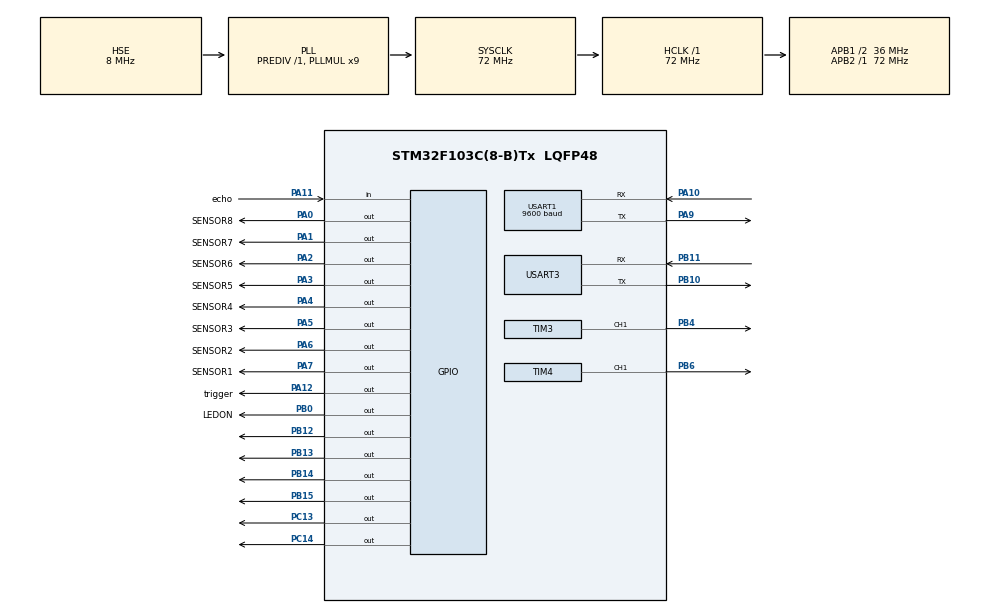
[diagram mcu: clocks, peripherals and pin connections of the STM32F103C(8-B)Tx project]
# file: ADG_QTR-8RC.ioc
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Mcu.Family=STM32F1
Mcu.Name=STM32F103C(8-B)Tx
Mcu.Package=LQFP48
NVIC.PriorityGroup=NVIC_PRIORITYGROUP_4
PA0-WKUP.GPIO_Label=SENSOR8
PA0-WKUP.GPIO_Speed=GPIO_SPEED_FREQ_HIGH
PA0-WKUP.Signal=GPIO_Output
PA1.GPIO_Label=SENSOR7
PA1.GPIO_Speed=GPIO_SPEED_FREQ_HIGH
PA1.Signal=GPIO_Output
PA10.Mode=Asynchronous
PA10.Signal=USART1_RX
PA11.GPIO_Label=echo
PA11.Signal=GPIO_Input
PA12.GPIO_Label=trigger
PA12.Signal=GPIO_Output
PA13.Mode=Serial_Wire
PA13.Signal=SYS_JTMS-SWDIO
PA14.Mode=Serial_Wire
PA14.Signal=SYS_JTCK-SWCLK
PA2.GPIO_Label=SENSOR6
PA2.GPIO_Speed=GPIO_SPEED_FREQ_HIGH
PA2.Signal=GPIO_Output
PA3.GPIO_Label=SENSOR5
PA3.GPIO_Speed=GPIO_SPEED_FREQ_HIGH
PA3.Signal=GPIO_Output
PA4.GPIO_Label=SENSOR4
PA4.GPIO_Speed=GPIO_SPEED_FREQ_HIGH
PA4.Signal=GPIO_Output
PA5.GPIO_Label=SENSOR3
PA5.GPIO_Speed=GPIO_SPEED_FREQ_HIGH
PA5.Signal=GPIO_Output
PA6.GPIO_Label=SENSOR2
PA6.GPIO_Speed=GPIO_SPEED_FREQ_HIGH
PA6.Signal=GPIO_Output
PA7.GPIO_Label=SENSOR1
PA7.GPIO_Speed=GPIO_SPEED_FREQ_HIGH
PA7.Signal=GPIO_Output
PA9.Mode=Asynchronous
PA9.Signal=USART1_TX
PB0.GPIO_Label=LEDON
PB0.GPIO_Speed=GPIO_SPEED_FREQ_HIGH
PB0.Signal=GPIO_Output
PB10.Mode=Asynchronous
PB10.Signal=USART3_TX
PB11.Mode=Asynchronous
PB11.Signal=USART3_RX
PB12.Signal=GPIO_Output
PB13.Signal=GPIO_Output
PB14.Signal=GPIO_Output
PB15.Signal=GPIO_Output
PB4.Signal=S_TIM3_CH1
PB6.Signal=S_TIM4_CH1
PC13-TAMPER-RTC.Signal=GPIO_Output
PC14-OSC32_IN.Signal=GPIO_Output
PD0-OSC_IN.Mode=HSE-External-Oscillator
PD0-OSC_IN.Signal=RCC_OSC_IN
PD1-OSC_OUT.Mode=HSE-External-Oscillator
PD1-OSC_OUT.Signal=RCC_OSC_OUT
ProjectManager.HeapSize=0x200
ProjectManager.StackSize=0x400
ProjectManager.TargetToolchain=MDK-ARM V5.32
RCC.AHBFreq_Value=72000000
RCC.APB1CLKDivider=RCC_HCLK_DIV2
RCC.APB1Freq_Value=36000000
RCC.APB1TimFreq_Value=72000000
RCC.APB2Freq_Value=72000000
RCC.APB2TimFreq_Value=72000000
RCC.HCLKFreq_Value=72000000
RCC.PLLMUL=RCC_PLL_MUL9
RCC.PLLSourceVirtual=RCC_PLLSOURCE_HSE
RCC.SYSCLKFreq_VALUE=72000000
RCC.SYSCLKSource=RCC_SYSCLKSOURCE_PLLCLK
RCC.USBFreq_Value=72000000
SH.S_TIM3_CH1.0=TIM3_CH1,PWM Generation1 CH1
SH.S_TIM4_CH1.0=TIM4_CH1,PWM Generation1 CH1
TIM1.Period=0xffff-1
TIM1.Prescaler=72-1
TIM3.Channel-PWM\ Generation1\ CH1=TIM_CHANNEL_1
TIM3.Period=999
TIM3.Prescaler=79
TIM3.Pulse-PWM\ Generation1\ CH1=500
TIM4.Channel-PWM\ Generation1\ CH1=TIM_CHANNEL_1
TIM4.Period=999
TIM4.Prescaler=79
USART1.BaudRate=9600
USART1.VirtualMode=VM_ASYNC
USART3.VirtualMode=VM_ASYNC
VP_TIM1_VS_ClockSourceINT.Mode=Internal
VP_TIM3_VS_ClockSourceINT.Mode=Internal
VP_TIM4_VS_ClockSourceINT.Mode=Internal
board=custom

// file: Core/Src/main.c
/* USER CODE BEGIN Header */
/**
  ******************************************************************************
  * @file           : main.c
  * @brief          : Main program body
  ******************************************************************************
  * @attention
  *
  * <h2><center>&copy; Copyright (c) 2021 STMicroelectronics.
  * All rights reserved.</center></h2>
  *
  * This software component is licensed by ST under BSD 3-Clause license,
  * the "License"; You may not use this file except in compliance with the
  * License. You may obtain a copy of the License at:
  *                        opensource.org/licenses/BSD-3-Clause
  *
  ******************************************************************************
  */
/* USER CODE END Header */
#include "main.h"

/* USER CODE BEGIN PD */
#include "string.h"

/* USER CODE END PD */

TIM_HandleTypeDef htim1;
TIM_HandleTypeDef htim3;
TIM_HandleTypeDef htim4;

UART_HandleTypeDef huart1;
UART_HandleTypeDef huart3;

/* USER CODE BEGIN PV */
	char data_hcr[32] = "";
	char data_qtr[32] = "";
	char data_error[32] = "";

	int sensor_read = 0x00000000;
	int white = 1;
	int error = 0;
	int keskin = 0;

	float	P , I, D, pre_error=0,PID_val=0,pre_I;
	float Kp=31, Ki=0, Kd=950;//PID degerleri

	uint32_t time;
  uint16_t distance;
/* USER CODE END PV */

void SystemClock_Config(void);
static void MX_GPIO_Init(void);
static void MX_TIM1_Init(void);
static void MX_TIM3_Init(void);
static void MX_TIM4_Init(void);
static void MX_USART1_UART_Init(void);
static void MX_USART3_UART_Init(void);

/* USER CODE BEGIN 0 */

void delay_us (uint16_t us)
{
	__HAL_TIM_SET_COUNTER(&htim1,0);  // set the counter value a 0
	while (__HAL_TIM_GET_COUNTER(&htim1) < us);  // wait for the counter to reach the us input in the parameter
}

void Set_Pin_Output (GPIO_TypeDef *GPIOx, uint16_t GPIO_Pin)
{
	GPIO_InitTypeDef GPIO_InitStruct = {0};
	GPIO_InitStruct.Pin = GPIO_Pin;
	GPIO_InitStruct.Mode = GPIO_MODE_OUTPUT_PP;
  GPIO_InitStruct.Pull = GPIO_NOPULL;
	GPIO_InitStruct.Speed = GPIO_SPEED_FREQ_LOW;
	HAL_GPIO_Init(GPIOx, &GPIO_InitStruct);
}

void Set_Pin_Input (GPIO_TypeDef *GPIOx, uint16_t GPIO_Pin)
{
	GPIO_InitTypeDef GPIO_InitStruct = {0};
	GPIO_InitStruct.Pin = GPIO_Pin;
	GPIO_InitStruct.Mode = GPIO_MODE_INPUT;
	GPIO_InitStruct.Pull = GPIO_PULLUP;
	GPIO_InitStruct.Speed = GPIO_SPEED_FREQ_LOW;
	HAL_GPIO_Init(GPIOx, &GPIO_InitStruct);

}

void user_pwm_setvalue3(uint16_t value)
{

 HAL_TIM_PWM_Stop(&htim3,TIM_CHANNEL_1);
 TIM_OC_InitTypeDef sConfigOC;

 sConfigOC.OCMode = TIM_OCMODE_PWM1;
 sConfigOC.Pulse = value;
 sConfigOC.OCPolarity = TIM_OCPOLARITY_HIGH;
 sConfigOC.OCFastMode = TIM_OCFAST_DISABLE;

 HAL_TIM_PWM_ConfigChannel(&htim3, &sConfigOC, TIM_CHANNEL_1);
 HAL_TIM_PWM_Start(&htim3, TIM_CHANNEL_1);
}

void user_pwm_setvalue4(uint16_t value)
{

HAL_TIM_PWM_Stop(&htim4,TIM_CHANNEL_1);
 TIM_OC_InitTypeDef sConfigOC;

 sConfigOC.OCMode = TIM_OCMODE_PWM1;
 sConfigOC.Pulse = value;
 sConfigOC.OCPolarity = TIM_OCPOLARITY_HIGH;
 sConfigOC.OCFastMode = TIM_OCFAST_DISABLE;

 HAL_TIM_PWM_ConfigChannel(&htim4, &sConfigOC, TIM_CHANNEL_1);
 HAL_TIM_PWM_Start(&htim4, TIM_CHANNEL_1);
}

int QTR8_read (void)
{
	HAL_GPIO_WritePin(LEDON_GPIO_Port, LEDON_Pin, 1);

	Set_Pin_Output(SENSOR1_GPIO_Port, SENSOR1_Pin);
	Set_Pin_Output(SENSOR2_GPIO_Port, SENSOR2_Pin);
	Set_Pin_Output(SENSOR3_GPIO_Port, SENSOR3_Pin);
	Set_Pin_Output(SENSOR4_GPIO_Port, SENSOR4_Pin);
	Set_Pin_Output(SENSOR5_GPIO_Port, SENSOR5_Pin);
	Set_Pin_Output(SENSOR6_GPIO_Port, SENSOR6_Pin);
	Set_Pin_Output(SENSOR7_GPIO_Port, SENSOR7_Pin);
	Set_Pin_Output(SENSOR8_GPIO_Port, SENSOR8_Pin);

	HAL_GPIO_WritePin (SENSOR1_GPIO_Port, SENSOR1_Pin, 1);
	HAL_GPIO_WritePin (SENSOR2_GPIO_Port, SENSOR2_Pin, 1);
	HAL_GPIO_WritePin (SENSOR3_GPIO_Port, SENSOR3_Pin, 1);
	HAL_GPIO_WritePin (SENSOR4_GPIO_Port, SENSOR4_Pin, 1);
	HAL_GPIO_WritePin (SENSOR5_GPIO_Port, SENSOR5_Pin, 1);
	HAL_GPIO_WritePin (SENSOR6_GPIO_Port, SENSOR6_Pin, 1);
	HAL_GPIO_WritePin (SENSOR7_GPIO_Port, SENSOR7_Pin, 1);
	HAL_GPIO_WritePin (SENSOR8_GPIO_Port, SENSOR8_Pin, 1);

	delay_us(12);

	Set_Pin_Input(SENSOR1_GPIO_Port, SENSOR1_Pin);
	Set_Pin_Input(SENSOR2_GPIO_Port, SENSOR2_Pin);
	Set_Pin_Input(SENSOR3_GPIO_Port, SENSOR3_Pin);
	Set_Pin_Input(SENSOR4_GPIO_Port, SENSOR4_Pin);
	Set_Pin_Input(SENSOR5_GPIO_Port, SENSOR5_Pin);
	Set_Pin_Input(SENSOR6_GPIO_Port, SENSOR6_Pin);
	Set_Pin_Input(SENSOR7_GPIO_Port, SENSOR7_Pin);
	Set_Pin_Input(SENSOR8_GPIO_Port, SENSOR8_Pin);

	// Threshold
	delay_us(6000);

	sensor_read = 0x00000000;

	if (HAL_GPIO_ReadPin(SENSOR1_GPIO_Port, SENSOR1_Pin)) {
		sensor_read |= 0x00000001;

	}
	if (HAL_GPIO_ReadPin(SENSOR2_GPIO_Port, SENSOR2_Pin)) {
		sensor_read |= 0x00000010;

  }
	if (HAL_GPIO_ReadPin(SENSOR3_GPIO_Port, SENSOR3_Pin)) {
		sensor_read |= 0x00000100;

  }
	if (HAL_GPIO_ReadPin(SENSOR4_GPIO_Port, SENSOR4_Pin)) {
		sensor_read |= 0x00001000;

  }
	if (HAL_GPIO_ReadPin(SENSOR5_GPIO_Port, SENSOR5_Pin)) {
		sensor_read |= 0x00010000;

  }
	if (HAL_GPIO_ReadPin(SENSOR6_GPIO_Port, SENSOR6_Pin)) {
		sensor_read |= 0x00100000;

  }
	if (HAL_GPIO_ReadPin(SENSOR7_GPIO_Port, SENSOR7_Pin)) {
		sensor_read |= 0x01000000;

  }
	if (HAL_GPIO_ReadPin(SENSOR8_GPIO_Port, SENSOR8_Pin)) {
		sensor_read |= 0x10000000;

  }

if(sensor_read == 0x00000000) {
error = 0;
keskin = 0;}
else if (sensor_read == 0x00011000) {
error = 0;
} else if (sensor_read == 0x00001000 || sensor_read == 0x00001100) {
error = 1;
} else if (sensor_read == 0x00000100 || sensor_read == 0x00000110 || sensor_read == 0x00001110) {
error = 2;
} else if (sensor_read == 0x00000010 || sensor_read == 0x00000011 || sensor_read == 0x00000111) {
error = 3;
} else if (sensor_read == 0x00000001) {
error = 4;
} else if (sensor_read == 0x00010000 || sensor_read == 0x00110000) {
error = -1;
} else if (sensor_read == 0x00100000 || sensor_read == 0x01100000|| sensor_read == 0x01110000) {
error = -2;
} else if (sensor_read == 0x01000000 || sensor_read == 0x11000000 || sensor_read == 0x11100000) {
error = -3;
} else if (sensor_read == 0x10000000) {
error = -4;
}else if (sensor_read == 0x00011011 || sensor_read == 0x00011111 || sensor_read == 0x00001011 || sensor_read == 0x00001111 || sensor_read == 0x00010011
|| sensor_read == 0x00010111) {
error = 5;
keskin = 1;
} else if (sensor_read == 0x11011000 || sensor_read == 0x11111000 || sensor_read == 0x11001000 || sensor_read == 0x11101000 || sensor_read == 0x11010000
|| sensor_read == 0x11110000) {
error = -5;
keskin = -1;

}

		P = error;
    I = I + error;
    D = error-pre_error;
    PID_val = (Kp*P) + (Ki*I) + (Kd*D);
    pre_I=I;
    pre_error=error;

	  float pwm_adg=220;//Hiz ayari

	  if(error > 0){
						user_pwm_setvalue3(pwm_adg +1*(Kp*P));
			user_pwm_setvalue4(pwm_adg -1*(Kp*P)/2);
		HAL_GPIO_WritePin(GPIOC,GPIO_PIN_13,1);
		HAL_GPIO_WritePin(GPIOC,GPIO_PIN_14,0);
		}
		else if(error < 0){
						user_pwm_setvalue3(pwm_adg -1*(Kp*P));
			user_pwm_setvalue4(pwm_adg +1*(Kp*P)/2);
		HAL_GPIO_WritePin(GPIOC,GPIO_PIN_14,1);
		HAL_GPIO_WritePin(GPIOC,GPIO_PIN_13,0);
		}
		else{
		HAL_GPIO_WritePin(GPIOC,GPIO_PIN_13,0);
		HAL_GPIO_WritePin(GPIOC,GPIO_PIN_14,0);

		}

if (keskin == -1){
		if (PID_val < 0) {
			user_pwm_setvalue3(pwm_adg +5*(Kp*P));
			user_pwm_setvalue4(pwm_adg -5*(Kp*P));

		  HAL_GPIO_WritePin(GPIOB,GPIO_PIN_12,0);  ///FORWARD 0 1 AND 1 0 BACK
		  HAL_GPIO_WritePin(GPIOB,GPIO_PIN_13,1);

  	  HAL_GPIO_WritePin(GPIOB,GPIO_PIN_14,1);  ///FORWARD 0 1 AND 1 0 BACK
		  HAL_GPIO_WritePin(GPIOB,GPIO_PIN_15,0);
			keskin = 0;
			HAL_Delay(100);

		} else {
			user_pwm_setvalue3(pwm_adg+10*(Kp*P));
			user_pwm_setvalue4(pwm_adg -(Kp*P)*10);

		  HAL_GPIO_WritePin(GPIOB,GPIO_PIN_12,1);  ///FORWARD 0 1 AND 1 0 BACK
		  HAL_GPIO_WritePin(GPIOB,GPIO_PIN_13,0);

  	  HAL_GPIO_WritePin(GPIOB,GPIO_PIN_14,0);  ///FORWARD 0 1 AND 1 0 BACK
		  HAL_GPIO_WritePin(GPIOB,GPIO_PIN_15,1);
			keskin = 0;
			HAL_Delay(100);

		}
	}

else if (keskin == 1){
		if (PID_val < 0) {
			user_pwm_setvalue3(pwm_adg -(Kp*P)*10);
			user_pwm_setvalue4(pwm_adg+10*(Kp*P));

		  HAL_GPIO_WritePin(GPIOB,GPIO_PIN_12,1);  ///FORWARD 0 1 AND 1 0 BACK
		  HAL_GPIO_WritePin(GPIOB,GPIO_PIN_13,0);

  	  HAL_GPIO_WritePin(GPIOB,GPIO_PIN_14,0);  ///FORWARD 0 1 AND 1 0 BACK
		  HAL_GPIO_WritePin(GPIOB,GPIO_PIN_15,1);
			keskin = 0;
			HAL_Delay(100);

		} else {
			user_pwm_setvalue3(pwm_adg+10*(Kp*P));
			user_pwm_setvalue4(pwm_adg -10*(Kp*P));

		  HAL_GPIO_WritePin(GPIOB,GPIO_PIN_12,0);  ///FORWARD 0 1 AND 1 0 BACK
		  HAL_GPIO_WritePin(GPIOB,GPIO_PIN_13,1);

  	  HAL_GPIO_WritePin(GPIOB,GPIO_PIN_14,1);  ///FORWARD 0 1 AND 1 0 BACK
		  HAL_GPIO_WritePin(GPIOB,GPIO_PIN_15,0);
			keskin = 0;
			HAL_Delay(100);

		}
	}

	else if (sensor_read == 0x10100000 ){
					user_pwm_setvalue3(pwm_adg+1*(Kp*P));
					user_pwm_setvalue4(pwm_adg +1*(Kp*P));
		  HAL_GPIO_WritePin(GPIOB,GPIO_PIN_12,0);  ///FORWARD 0 1 AND 1 0 BACK
		  HAL_GPIO_WritePin(GPIOB,GPIO_PIN_13,1);

  	  HAL_GPIO_WritePin(GPIOB,GPIO_PIN_14,1);  ///FORWARD 0 1 AND 1 0 BACK
		  HAL_GPIO_WritePin(GPIOB,GPIO_PIN_15,0);
			HAL_Delay(25);
}

	else if (sensor_read == 0x00000101 ){
							user_pwm_setvalue3(pwm_adg+1*(Kp*P));
					user_pwm_setvalue4(pwm_adg +1*(Kp*P));
		  HAL_GPIO_WritePin(GPIOB,GPIO_PIN_12,1);  ///FORWARD 0 1 AND 1 0 BACK
		  HAL_GPIO_WritePin(GPIOB,GPIO_PIN_13,0);

  	  HAL_GPIO_WritePin(GPIOB,GPIO_PIN_14,0);  ///FORWARD 0 1 AND 1 0 BACK
		  HAL_GPIO_WritePin(GPIOB,GPIO_PIN_15,1);
			HAL_Delay(25);

	}

		else{
					if (PID_val < 0) {
					user_pwm_setvalue3(pwm_adg+1*(Kp*P));
					user_pwm_setvalue4(pwm_adg +1*(Kp*P));

		  HAL_GPIO_WritePin(GPIOB,GPIO_PIN_12,0);  ///FORWARD 0 1 AND 1 0 BACK
		  HAL_GPIO_WritePin(GPIOB,GPIO_PIN_13,1);

  	  HAL_GPIO_WritePin(GPIOB,GPIO_PIN_14,0);  ///FORWARD 0 1 AND 1 0 BACK
		  HAL_GPIO_WritePin(GPIOB,GPIO_PIN_15,1);

		} else {
					user_pwm_setvalue3(pwm_adg+1*(Kp*P));
					user_pwm_setvalue4(pwm_adg +1*(Kp*P));

		  HAL_GPIO_WritePin(GPIOB,GPIO_PIN_12,0);  ///FORWARD 0 1 AND 1 0 BACK
		  HAL_GPIO_WritePin(GPIOB,GPIO_PIN_13,1);

  	  HAL_GPIO_WritePin(GPIOB,GPIO_PIN_14,0);  ///FORWARD 0 1 AND 1 0 BACK
		  HAL_GPIO_WritePin(GPIOB,GPIO_PIN_15,1);

		}
		}

//			HAL_UART_Receive(&huart3,(uint8_t*)data_error,50,1000);
//		sprintf(data_error," %d \n\r",error);
//		HAL_UART_Transmit(&huart3,(uint8_t*)data_error,strlen(data_error),1000);
}

//uint32_t Read_HCSR04(){

//uint32_t local_time = 0;
//
//HAL_GPIO_WritePin(GPIOA, GPIO_PIN_12,GPIO_PIN_SET);
//delay_us(10);
//HAL_GPIO_WritePin(GPIOA, GPIO_PIN_12,GPIO_PIN_RESET);

//
//while(!HAL_GPIO_ReadPin(GPIOA, GPIO_PIN_11));
//
//while(HAL_GPIO_ReadPin(GPIOA, GPIO_PIN_11))
//	{

//local_time++;
//delay_us(1);

//}
//return local_time;

//}

/* USER CODE END 0 */

int main(void)
{

  /* MCU Configuration--------------------------------------------------------*/

  /* Reset of all peripherals, Initializes the Flash interface and the Systick. */
  HAL_Init();

  /* Configure the system clock */
  SystemClock_Config();

  /* Initialize all configured peripherals */
  MX_GPIO_Init();
  MX_TIM1_Init();
  MX_TIM3_Init();
  MX_TIM4_Init();
  MX_USART1_UART_Init();
  MX_USART3_UART_Init();
  /* USER CODE BEGIN 2 */
	HAL_TIM_Base_Start(&htim1);
	HAL_TIM_PWM_Start(&htim3, TIM_CHANNEL_1);
	HAL_TIM_PWM_Start(&htim4, TIM_CHANNEL_1);
	HAL_TIM_PWM_Start(&htim3, TIM_CHANNEL_2);
	HAL_TIM_PWM_Start(&htim4, TIM_CHANNEL_2);

	__HAL_TIM_SET_COMPARE (&htim3, TIM_CHANNEL_1, 100);
	__HAL_TIM_SET_COMPARE (&htim3, TIM_CHANNEL_2, 100);
	__HAL_TIM_SET_COMPARE (&htim4, TIM_CHANNEL_1, 0);
	__HAL_TIM_SET_COMPARE (&htim4, TIM_CHANNEL_2, 0);
//	HAL_Delay(2000);

  /* USER CODE END 2 */

  /* Infinite loop */
  while (1)
  {

    /* USER CODE BEGIN 3 */
		/*
		time = Read_HCSR04();
		distance = time/29;
		sprintf(data_hcr,"\f %d \n\r",distance);
		HAL_UART_Transmit(&huart1,(uint8_t*)data_hcr,strlen(data_hcr),1000);

		if(distance>5){
		HAL_GPIO_WritePin(GPIOC, GPIO_PIN_13, GPIO_PIN_SET);
		}
		else{

			HAL_GPIO_WritePin(GPIOC, GPIO_PIN_13, GPIO_PIN_RESET);
		}
		*/
	//////////////////////////////////////////////

//		sprintf(data_qtr," %08X \n\r",sensor_read);
//		HAL_UART_Transmit(&huart1,(uint8_t*)data_qtr,strlen(data_qtr),1000);

		QTR8_read();

//		if(error > 0){
//		HAL_GPIO_WritePin(GPIOC,GPIO_PIN_13,1);
//		HAL_GPIO_WritePin(GPIOC,GPIO_PIN_14,0);
//		}
//		else if(error < 0){
//		HAL_GPIO_WritePin(GPIOC,GPIO_PIN_14,1);
//		HAL_GPIO_WritePin(GPIOC,GPIO_PIN_13,0);
//		}
//		else{
//		HAL_GPIO_WritePin(GPIOC,GPIO_PIN_13,0);
//		HAL_GPIO_WritePin(GPIOC,GPIO_PIN_14,0);
//
//		}

  }
  /* USER CODE END 3 */
}

void SystemClock_Config(void)
{
  RCC_OscInitTypeDef RCC_OscInitStruct = {0};
  RCC_ClkInitTypeDef RCC_ClkInitStruct = {0};

  /** Initializes the RCC Oscillators according to the specified parameters
  * in the RCC_OscInitTypeDef structure.
  */
  RCC_OscInitStruct.OscillatorType = RCC_OSCILLATORTYPE_HSE;
  RCC_OscInitStruct.HSEState = RCC_HSE_ON;
  RCC_OscInitStruct.HSEPredivValue = RCC_HSE_PREDIV_DIV1;
  RCC_OscInitStruct.HSIState = RCC_HSI_ON;
  RCC_OscInitStruct.PLL.PLLState = RCC_PLL_ON;
  RCC_OscInitStruct.PLL.PLLSource = RCC_PLLSOURCE_HSE;
  RCC_OscInitStruct.PLL.PLLMUL = RCC_PLL_MUL9;
  if (HAL_RCC_OscConfig(&RCC_OscInitStruct) != HAL_OK)
  {
    Error_Handler();
  }
  /** Initializes the CPU, AHB and APB buses clocks
  */
  RCC_ClkInitStruct.ClockType = RCC_CLOCKTYPE_HCLK|RCC_CLOCKTYPE_SYSCLK
                              |RCC_CLOCKTYPE_PCLK1|RCC_CLOCKTYPE_PCLK2;
  RCC_ClkInitStruct.SYSCLKSource = RCC_SYSCLKSOURCE_PLLCLK;
  RCC_ClkInitStruct.AHBCLKDivider = RCC_SYSCLK_DIV1;
  RCC_ClkInitStruct.APB1CLKDivider = RCC_HCLK_DIV2;
  RCC_ClkInitStruct.APB2CLKDivider = RCC_HCLK_DIV1;

  if (HAL_RCC_ClockConfig(&RCC_ClkInitStruct, FLASH_LATENCY_2) != HAL_OK)
  {
    Error_Handler();
  }
}

static void MX_TIM1_Init(void)
{

  TIM_ClockConfigTypeDef sClockSourceConfig = {0};
  TIM_MasterConfigTypeDef sMasterConfig = {0};

  htim1.Instance = TIM1;
  htim1.Init.Prescaler = 72-1;
  htim1.Init.CounterMode = TIM_COUNTERMODE_UP;
  htim1.Init.Period = 0xffff-1;
  htim1.Init.ClockDivision = TIM_CLOCKDIVISION_DIV1;
  htim1.Init.RepetitionCounter = 0;
  htim1.Init.AutoReloadPreload = TIM_AUTORELOAD_PRELOAD_DISABLE;
  if (HAL_TIM_Base_Init(&htim1) != HAL_OK)
  {
    Error_Handler();
  }
  sClockSourceConfig.ClockSource = TIM_CLOCKSOURCE_INTERNAL;
  if (HAL_TIM_ConfigClockSource(&htim1, &sClockSourceConfig) != HAL_OK)
  {
    Error_Handler();
  }
  sMasterConfig.MasterOutputTrigger = TIM_TRGO_RESET;
  sMasterConfig.MasterSlaveMode = TIM_MASTERSLAVEMODE_DISABLE;
  if (HAL_TIMEx_MasterConfigSynchronization(&htim1, &sMasterConfig) != HAL_OK)
  {
    Error_Handler();
  }

}

static void MX_TIM3_Init(void)
{

  TIM_ClockConfigTypeDef sClockSourceConfig = {0};
  TIM_MasterConfigTypeDef sMasterConfig = {0};
  TIM_OC_InitTypeDef sConfigOC = {0};

  htim3.Instance = TIM3;
  htim3.Init.Prescaler = 79;
  htim3.Init.CounterMode = TIM_COUNTERMODE_UP;
  htim3.Init.Period = 999;
  htim3.Init.ClockDivision = TIM_CLOCKDIVISION_DIV1;
  htim3.Init.AutoReloadPreload = TIM_AUTORELOAD_PRELOAD_DISABLE;
  if (HAL_TIM_Base_Init(&htim3) != HAL_OK)
  {
    Error_Handler();
  }
  sClockSourceConfig.ClockSource = TIM_CLOCKSOURCE_INTERNAL;
  if (HAL_TIM_ConfigClockSource(&htim3, &sClockSourceConfig) != HAL_OK)
  {
    Error_Handler();
  }
  if (HAL_TIM_PWM_Init(&htim3) != HAL_OK)
  {
    Error_Handler();
  }
  sMasterConfig.MasterOutputTrigger = TIM_TRGO_RESET;
  sMasterConfig.MasterSlaveMode = TIM_MASTERSLAVEMODE_DISABLE;
  if (HAL_TIMEx_MasterConfigSynchronization(&htim3, &sMasterConfig) != HAL_OK)
  {
    Error_Handler();
  }
  sConfigOC.OCMode = TIM_OCMODE_PWM1;
  sConfigOC.Pulse = 500;
  sConfigOC.OCPolarity = TIM_OCPOLARITY_HIGH;
  sConfigOC.OCFastMode = TIM_OCFAST_DISABLE;
  if (HAL_TIM_PWM_ConfigChannel(&htim3, &sConfigOC, TIM_CHANNEL_1) != HAL_OK)
  {
    Error_Handler();
  }
  HAL_TIM_MspPostInit(&htim3);

}

static void MX_TIM4_Init(void)
{

  TIM_ClockConfigTypeDef sClockSourceConfig = {0};
  TIM_MasterConfigTypeDef sMasterConfig = {0};
  TIM_OC_InitTypeDef sConfigOC = {0};

  htim4.Instance = TIM4;
  htim4.Init.Prescaler = 79;
  htim4.Init.CounterMode = TIM_COUNTERMODE_UP;
  htim4.Init.Period = 999;
  htim4.Init.ClockDivision = TIM_CLOCKDIVISION_DIV1;
  htim4.Init.AutoReloadPreload = TIM_AUTORELOAD_PRELOAD_DISABLE;
  if (HAL_TIM_Base_Init(&htim4) != HAL_OK)
  {
    Error_Handler();
  }
  sClockSourceConfig.ClockSource = TIM_CLOCKSOURCE_INTERNAL;
  if (HAL_TIM_ConfigClockSource(&htim4, &sClockSourceConfig) != HAL_OK)
  {
    Error_Handler();
  }
  if (HAL_TIM_PWM_Init(&htim4) != HAL_OK)
  {
    Error_Handler();
  }
  sMasterConfig.MasterOutputTrigger = TIM_TRGO_RESET;
  sMasterConfig.MasterSlaveMode = TIM_MASTERSLAVEMODE_DISABLE;
  if (HAL_TIMEx_MasterConfigSynchronization(&htim4, &sMasterConfig) != HAL_OK)
  {
    Error_Handler();
  }
  sConfigOC.OCMode = TIM_OCMODE_PWM1;
  sConfigOC.Pulse = 0;
  sConfigOC.OCPolarity = TIM_OCPOLARITY_HIGH;
  sConfigOC.OCFastMode = TIM_OCFAST_DISABLE;
  if (HAL_TIM_PWM_ConfigChannel(&htim4, &sConfigOC, TIM_CHANNEL_1) != HAL_OK)
  {
    Error_Handler();
  }
  HAL_TIM_MspPostInit(&htim4);

}

static void MX_USART1_UART_Init(void)
{

  huart1.Instance = USART1;
  huart1.Init.BaudRate = 9600;
  huart1.Init.WordLength = UART_WORDLENGTH_8B;
  huart1.Init.StopBits = UART_STOPBITS_1;
  huart1.Init.Parity = UART_PARITY_NONE;
  huart1.Init.Mode = UART_MODE_TX_RX;
  huart1.Init.HwFlowCtl = UART_HWCONTROL_NONE;
  huart1.Init.OverSampling = UART_OVERSAMPLING_16;
  if (HAL_UART_Init(&huart1) != HAL_OK)
  {
    Error_Handler();
  }

}

static void MX_USART3_UART_Init(void)
{

  huart3.Instance = USART3;
  huart3.Init.BaudRate = 115200;
  huart3.Init.WordLength = UART_WORDLENGTH_8B;
  huart3.Init.StopBits = UART_STOPBITS_1;
  huart3.Init.Parity = UART_PARITY_NONE;
  huart3.Init.Mode = UART_MODE_TX_RX;
  huart3.Init.HwFlowCtl = UART_HWCONTROL_NONE;
  huart3.Init.OverSampling = UART_OVERSAMPLING_16;
  if (HAL_UART_Init(&huart3) != HAL_OK)
  {
    Error_Handler();
  }

}

static void MX_GPIO_Init(void)
{
  GPIO_InitTypeDef GPIO_InitStruct = {0};

  /* GPIO Ports Clock Enable */
  __HAL_RCC_GPIOC_CLK_ENABLE();
  __HAL_RCC_GPIOD_CLK_ENABLE();
  __HAL_RCC_GPIOA_CLK_ENABLE();
  __HAL_RCC_GPIOB_CLK_ENABLE();

  /*Configure GPIO pin Output Level */
  HAL_GPIO_WritePin(GPIOC, GPIO_PIN_13|GPIO_PIN_14, GPIO_PIN_RESET);

  /*Configure GPIO pin Output Level */
  HAL_GPIO_WritePin(GPIOA, SENSOR8_Pin|SENSOR7_Pin|SENSOR6_Pin|SENSOR5_Pin
                          |SENSOR4_Pin|SENSOR3_Pin|SENSOR2_Pin|SENSOR1_Pin
                          |trigger_Pin, GPIO_PIN_RESET);

  /*Configure GPIO pin Output Level */
  HAL_GPIO_WritePin(GPIOB, LEDON_Pin|GPIO_PIN_12|GPIO_PIN_13|GPIO_PIN_14
                          |GPIO_PIN_15, GPIO_PIN_RESET);

  /*Configure GPIO pins : PC13 PC14 */
  GPIO_InitStruct.Pin = GPIO_PIN_13|GPIO_PIN_14;
  GPIO_InitStruct.Mode = GPIO_MODE_OUTPUT_PP;
  GPIO_InitStruct.Pull = GPIO_NOPULL;
  GPIO_InitStruct.Speed = GPIO_SPEED_FREQ_LOW;
  HAL_GPIO_Init(GPIOC, &GPIO_InitStruct);

  /*Configure GPIO pins : SENSOR8_Pin SENSOR7_Pin SENSOR6_Pin SENSOR5_Pin
                           SENSOR4_Pin SENSOR3_Pin SENSOR2_Pin SENSOR1_Pin */
  GPIO_InitStruct.Pin = SENSOR8_Pin|SENSOR7_Pin|SENSOR6_Pin|SENSOR5_Pin
                          |SENSOR4_Pin|SENSOR3_Pin|SENSOR2_Pin|SENSOR1_Pin;
  GPIO_InitStruct.Mode = GPIO_MODE_OUTPUT_PP;
  GPIO_InitStruct.Pull = GPIO_NOPULL;
  GPIO_InitStruct.Speed = GPIO_SPEED_FREQ_HIGH;
  HAL_GPIO_Init(GPIOA, &GPIO_InitStruct);

  /*Configure GPIO pin : LEDON_Pin */
  GPIO_InitStruct.Pin = LEDON_Pin;
  GPIO_InitStruct.Mode = GPIO_MODE_OUTPUT_PP;
  GPIO_InitStruct.Pull = GPIO_NOPULL;
  GPIO_InitStruct.Speed = GPIO_SPEED_FREQ_HIGH;
  HAL_GPIO_Init(LEDON_GPIO_Port, &GPIO_InitStruct);

  /*Configure GPIO pins : PB12 PB13 PB14 PB15 */
  GPIO_InitStruct.Pin = GPIO_PIN_12|GPIO_PIN_13|GPIO_PIN_14|GPIO_PIN_15;
  GPIO_InitStruct.Mode = GPIO_MODE_OUTPUT_PP;
  GPIO_InitStruct.Pull = GPIO_NOPULL;
  GPIO_InitStruct.Speed = GPIO_SPEED_FREQ_LOW;
  HAL_GPIO_Init(GPIOB, &GPIO_InitStruct);

  /*Configure GPIO pin : echo_Pin */
  GPIO_InitStruct.Pin = echo_Pin;
  GPIO_InitStruct.Mode = GPIO_MODE_INPUT;
  GPIO_InitStruct.Pull = GPIO_NOPULL;
  HAL_GPIO_Init(echo_GPIO_Port, &GPIO_InitStruct);

  /*Configure GPIO pin : trigger_Pin */
  GPIO_InitStruct.Pin = trigger_Pin;
  GPIO_InitStruct.Mode = GPIO_MODE_OUTPUT_PP;
  GPIO_InitStruct.Pull = GPIO_NOPULL;
  GPIO_InitStruct.Speed = GPIO_SPEED_FREQ_LOW;
  HAL_GPIO_Init(trigger_GPIO_Port, &GPIO_InitStruct);

}

void Error_Handler(void)
{
  __disable_irq();
  while (1)
  {
  }
}

/************************ (C) COPYRIGHT STMicroelectronics *****END OF FILE****/
